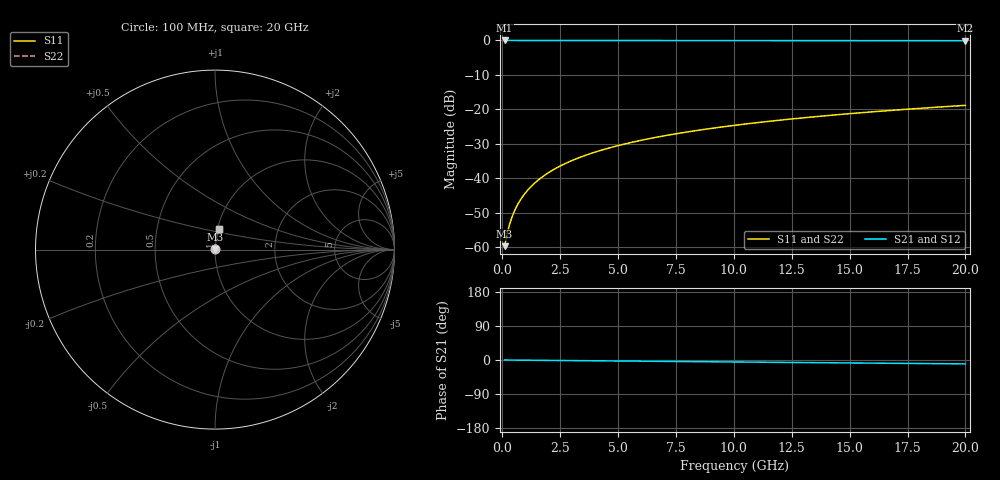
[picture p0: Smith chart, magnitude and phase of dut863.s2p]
! Touchstone file exported from HFSS 2026.1.0
!  File:  C:/ffzhzh/LocalFiles/Ansys_Project_Files/temp_train_BSMRDL_863_1783170745_22436.aedt
!  Generated:  09:13:34 PM Jul  4, 2026
!  Design:  BSMRDL
!  Project:  temp_train_BSMRDL_863_1783170745_22436
! Variables:
!  h_bsmrdl = 5.04um
!  h_ox = 20um
!  h_rdl = 5um
!  h_sub = 80um
!  h_tmrdl = 5um
!  h_tsv = 80um
!  h_via = 3um
!  l_bsmrdl = 118.75um
!  l_sub = 518.75um
!  l_tmrdl = 200um
!  m_sub = 200um
!  pitch = 35.51um
!  r_tsv = 6um
!  s_tmrdl = 10um
!  w_bsmrdl = 11.69um
!  w_sub = 500um
!  w_tmrdl = 12um
!  x_tsv_center1 = 206um
!  x_tsv_center2 = 336.44um
!  x_tsv_center3 = 548.44um
!  x_tsv_center4 = 678.88um
!  x_tsv_center5 = 890.88um
!  x_tsv_center6 = 1021.32um
# GHz S MA R 50.000000
! Terminal data exported
! Port[1] = BSM_RDL1_1_T1
! Port[2] = BSM_RDL1_1_T2
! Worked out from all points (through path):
!   200 points, 100 MHz to 20 GHz, reference 50 ohm
!   highest |S21| = -0.01 dB at 100 MHz (marker M1); lowest = -0.1 dB at 20 GHz (marker M2)
!   group delay of S21, straight-line fit = 1.42 ps
!   lowest |S11| = -59.6 dB at 100 MHz (marker M3), VSWR 1.00, Z = 50.1 + j0.0637 ohm
!   |S11| at or under -10 dB: start of sweep to end of sweep
!   |S22| runs from -59.6 to -18.8 dB; largest |S21 - S12| = 4e-15
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0.1  0.001043 37.5  0.9992 -0.1  0.9992 -0.1  0.001043 37.5
! Gamma 0 0 0 0
! Port Impedance 50 0 50 0
0.2  0.001521 56.1  0.9992 -0.1  0.9992 -0.1  0.001521 56.1
0.3  0.002073 65.1  0.9991 -0.2  0.9991 -0.2  0.002073 65.1
0.4  0.002646 70.1  0.9991 -0.2  0.9991 -0.2  0.002646 70.1
0.5  0.003227 73.4  0.9991 -0.3  0.9991 -0.3  0.003227 73.4
0.6  0.003813 75.7  0.9991 -0.3  0.9991 -0.3  0.003813 75.7
0.8  0.004993 78.6  0.999 -0.4  0.999 -0.4  0.004993 78.6
1.1  0.006775 81.1  0.999 -0.6  0.999 -0.6  0.006775 81.1
1.5  0.009164 82.8  0.9989 -0.8  0.9989 -0.8  0.009164 82.8
1.8  0.01096 83.5  0.9989 -1.0  0.9989 -1.0  0.01096 83.5
2.1  0.01275 83.9  0.9988 -1.1  0.9988 -1.1  0.01275 83.9
2.7  0.01633 84.4  0.9987 -1.4  0.9987 -1.4  0.01633 84.4
3.5  0.02109 84.5  0.9984 -1.9  0.9984 -1.9  0.02109 84.5
4.2  0.02522 84.4  0.9982 -2.2  0.9982 -2.2  0.02522 84.4
5  0.02991 84.2  0.9979 -2.6  0.9979 -2.6  0.02991 84.2
5.9  0.03515 84.0  0.9976 -3.1  0.9976 -3.1  0.03515 84.0
6.8  0.04035 83.6  0.9972 -3.6  0.9972 -3.6  0.04035 83.6
8.3  0.04896 83.0  0.9966 -4.3  0.9966 -4.3  0.04896 83.0
10.1  0.05922 82.3  0.9957 -5.3  0.9957 -5.3  0.05922 82.3
13.4  0.07787 80.9  0.994 -6.9  0.994 -6.9  0.07787 80.9
16.7  0.09634 79.4  0.9921 -8.6  0.9921 -8.6  0.09634 79.4
20  0.1146 77.9  0.9898 -10.3  0.9898 -10.3  0.1146 77.9
